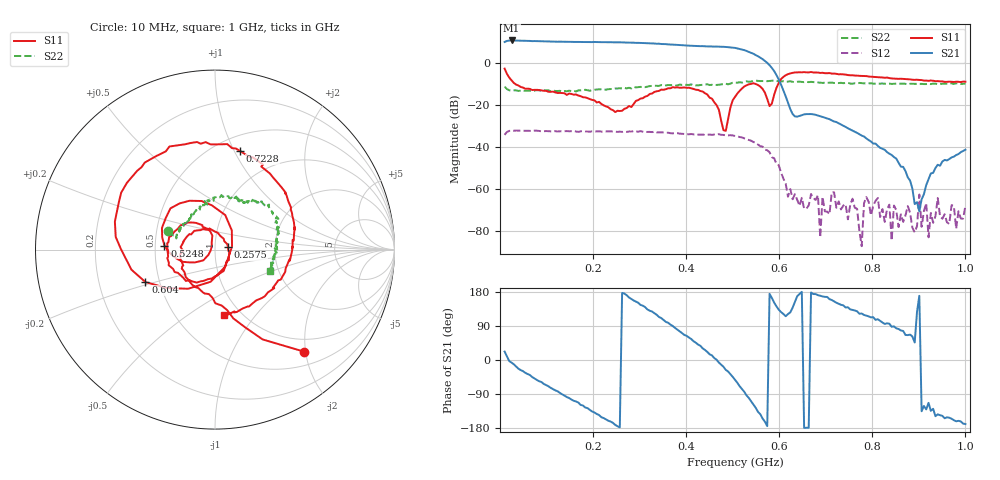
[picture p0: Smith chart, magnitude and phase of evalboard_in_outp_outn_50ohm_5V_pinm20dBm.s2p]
#  HZ  S  DB  R  50.0
! Rohde & Schwarz ZVL
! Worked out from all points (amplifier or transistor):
!   201 points, 10 MHz to 1 GHz, reference 50 ohm
!   highest |S21| = 11.0 dB at 24.85 MHz (marker M1)
!   |S21| within 3 dB of that: start of sweep to 472.7 MHz
!   unconditionally stable (mu >= 1): start of sweep to end of sweep
!   at 173.3 MHz: K = 5.87, MAG = 10.6 dB, |S12| = -32.3 dB
!   at 505 MHz: K = 9.75, MAG = 8.1 dB, |S12| = -34.5 dB
!   at 1 GHz: K = 107598.02, MAG = -39.9 dB, |S12| = -67.8 dB
!   S11 on the Smith chart (normalised r, x): 10 MHz: 0.75, -1.97; 257.5 MHz: 1.16, +0.03; 524.8 MHz: 0.56, +0.03; 604 MHz: 0.42, -0.18; 722.8 MHz: 0.65, +1.05; 1 GHz: 0.84, -0.71
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1e7  -2.45 -48.9  10.25 22.3  -34.03 -131.1  -11.00 158.7
2.485e7  -8.03 -75.1  10.97 -6.9  -32.00 -173.3  -12.99 163.9
9.91e7  -13.02 -136.8  10.55 -66.3  -32.19 121.4  -12.82 146.3
1.783e8  -16.06 147.5  10.23 -120.0  -32.26 70.1  -12.77 125.1
2.575e8  -22.65 10.3  10.09 -177.9  -32.47 17.4  -11.75 105.6
3.4165e8  -13.07 -130.2  9.43 113.6  -32.84 -46.3  -10.67 84.7
4.357e8  -13.38 135.1  8.26 30.5  -33.86 -126.9  -10.16 61.4
4.852e8  -32.10 -168.5  7.87 -26.1  -34.21 -179.8  -9.63 55.0
5.05e8  -15.89 -153.7  7.43 -52.0  -34.53 152.7  -9.11 50.0
5.248e8  -10.98 175.5  6.38 -83.8  -35.67 120.7  -8.77 46.8
5.644e8  -12.14 94.0  2.07 -154.7  -39.62 55.8  -8.36 32.5
6.04e8  -7.37 -155.0  -10.08 126.4  -51.98 -24.7  -8.51 23.1
6.733e8  -4.29 105.9  -24.22 174.1  -64.09 -4.7  -8.87 14.0
6.8815e8  -4.51 97.7  -25.08 169.6  -82.88 52.8  -9.14 9.6
6.931e8  -4.42 95.0  -25.42 167.7  -63.55 38.8  -9.27 7.4
7.228e8  -4.93 75.7  -27.90 151.2  -68.77 74.3  -9.32 3.5
8.3665e8  -6.97 10.8  -42.97 95.7  -67.25 -11.0  -9.60 -8.8
8.911e8  -7.80 -14.8  -66.98 46.2  -80.43 -144.1  -9.67 -11.9
9.01e8  -7.85 -21.9  -70.43 169.4  -62.46 -91.5  -9.73 -12.7
9.208e8  -8.26 -33.6  -55.19 -113.1  -82.81 -72.7  -9.63 -19.3
9.406e8  -8.39 -42.9  -48.25 -143.4  -64.05 38.6  -9.85 -17.0
1e9  -8.68 -81.8  -41.07 -169.0  -67.84 24.7  -9.67 -20.8
